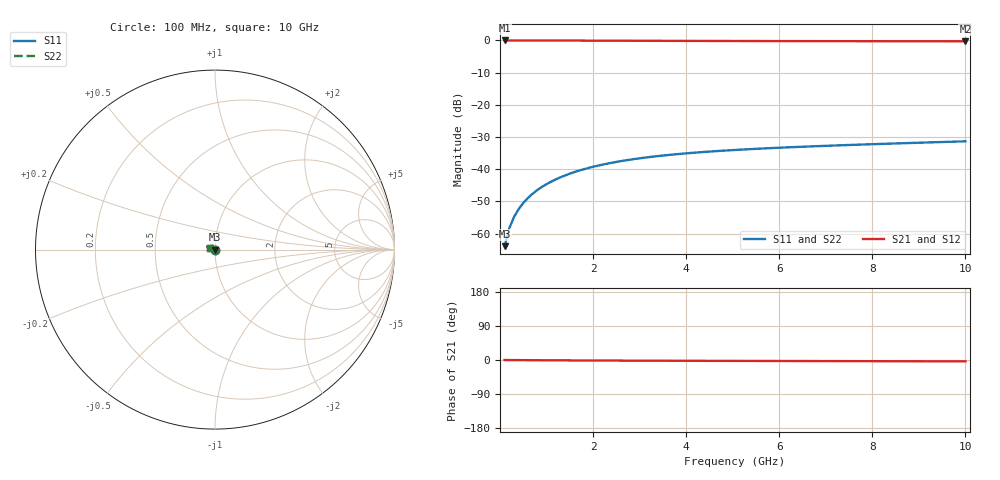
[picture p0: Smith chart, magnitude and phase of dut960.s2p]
! Touchstone file exported from HFSS 2024.1.0
!  File:  C:/UserFiles/LocalFiles/RDL_TSV_Batchsim/temp_TSV1_960_1779950208.aedt
!  Generated:  02:43:37 PM May 28, 2026
!  Design:  TSV1
!  Project:  temp_TSV1_960_1779950208
!  Setup:  Setup1
!  Solution:  Sweep
! Variables:
!  dtsv = 7.03um
!  hbump = 3um
!  htsv = 52.54um
!  lrdl = 252.1521522um
!  p = 40
!  p1 = 43.27um
!  t = 500um
!  trdl = 3um
!  wrdl = 24.89489489um
# GHz S MA R 50.000000
! Terminal data exported
! Port[1] = TSV22_T1
! Port[2] = TSV22_T2
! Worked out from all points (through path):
!   100 points, 100 MHz to 10 GHz, reference 50 ohm
!   highest |S21| = 0.00 dB at 100 MHz (marker M1); lowest = -0.3 dB at 10 GHz (marker M2)
!   lowest |S11| = -63.9 dB at 100 MHz (marker M3), VSWR 1.00, Z = 50 - j0.0603 ohm
!   |S11| at or under -10 dB: start of sweep to end of sweep
!   |S22| runs from -63.9 to -31.3 dB; largest |S21 - S12| = 1.1e-14
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0.1  0.0006386 -70.8  0.9997 -0.1  0.9997 -0.1  0.0006386 -70.8
! Gamma 0 0 0 0
! Port Impedance 50 0 50 0
0.2  0.001213 -83.0  0.9997 -0.2  0.9997 -0.2  0.001213 -83.0
0.3  0.001801 -88.6  0.9996 -0.2  0.9996 -0.2  0.001801 -88.6
0.4  0.002392 -92.3  0.9994 -0.3  0.9994 -0.3  0.002392 -92.3
0.5  0.002982 -95.3  0.9992 -0.4  0.9992 -0.4  0.002982 -95.3
0.6  0.00357 -97.8  0.999 -0.5  0.999 -0.5  0.00357 -97.8
0.7  0.004153 -100.2  0.9987 -0.5  0.9987 -0.5  0.004153 -100.2
0.8  0.004731 -102.4  0.9984 -0.6  0.9984 -0.6  0.004731 -102.4
0.9  0.005302 -104.4  0.9981 -0.7  0.9981 -0.7  0.005302 -104.4
1.1  0.006418 -108.4  0.9974 -0.8  0.9974 -0.8  0.006418 -108.4
1.4  0.008018 -113.8  0.9961 -1.0  0.9961 -1.0  0.008018 -113.8
1.6  0.009028 -117.3  0.9952 -1.1  0.9952 -1.1  0.009028 -117.3
1.8  0.009992 -120.6  0.9943 -1.2  0.9943 -1.2  0.009992 -120.6
2.1  0.01135 -125.4  0.9928 -1.4  0.9928 -1.4  0.01135 -125.4
2.5  0.01298 -131.4  0.9907 -1.6  0.9907 -1.6  0.01298 -131.4
2.9  0.01443 -136.9  0.9888 -1.7  0.9888 -1.7  0.01443 -136.9
3.4  0.01602 -143.2  0.9864 -1.9  0.9864 -1.9  0.01602 -143.2
4.2  0.01812 -152.3  0.983 -2.2  0.983 -2.2  0.01812 -152.3
5.1  0.02001 -161.0  0.98 -2.4  0.98 -2.4  0.02001 -161.0
6.7  0.02266 -173.8  0.976 -2.8  0.976 -2.8  0.02266 -173.8
8.4  0.02501 175.3  0.9732 -3.2  0.9732 -3.2  0.02501 175.3
10  0.02713 166.8  0.9713 -3.6  0.9713 -3.6  0.02713 166.8
